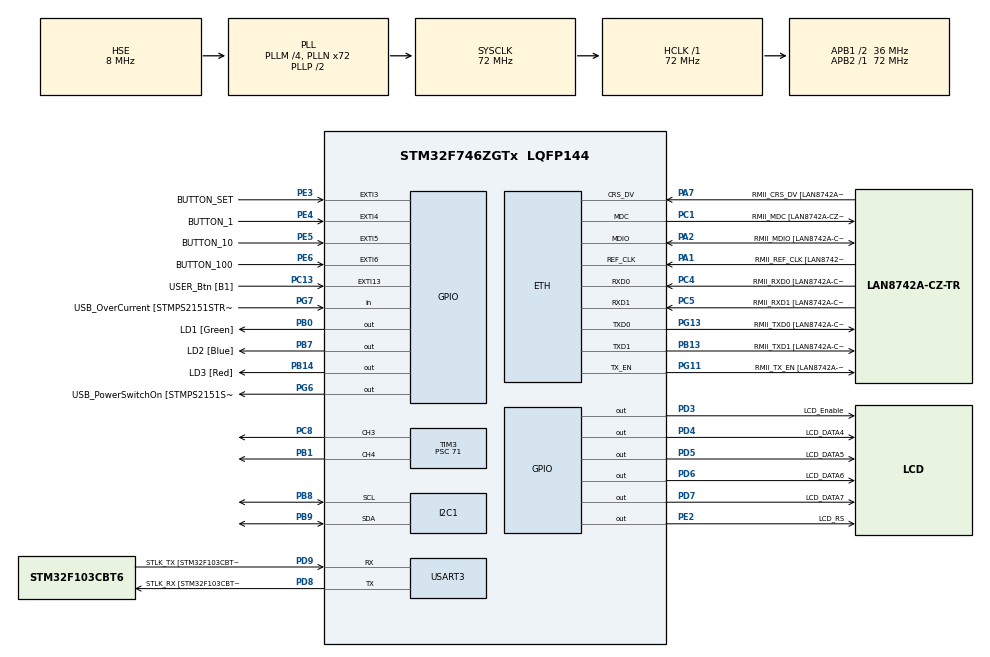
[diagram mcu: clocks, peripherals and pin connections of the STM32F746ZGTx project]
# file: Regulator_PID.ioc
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ARM.CMSIS.5.7.0.CMSISJjCORE=true
ARM.CMSIS.5.7.0.CMSISJjDSP=Library
CORTEX_M7.CPU_DCache=Enabled
CORTEX_M7.CPU_ICache=Enabled
ETH.MediaInterface=ETH_MEDIA_INTERFACE_RMII
ETH.PhyAddress=0
I2C1.Timing=0x00808CD2
LWIP.GATEWAY_ADDRESS=192.168.000.001
LWIP.IP_ADDRESS=192.168.000.123
LWIP.LWIP_DHCP=0
LWIP.LWIP_HTTPD=1
LWIP.LWIP_HTTPD_CGI=1
LWIP.LWIP_HTTPD_SSI=1
LWIP.MEM_SIZE=1024*10
LWIP.NETMASK_ADDRESS=255.255.255.000
LWIP.Version=v2.1.2_Cube
Mcu.Family=STM32F7
Mcu.Name=STM32F746ZGTx
Mcu.Package=LQFP144
NVIC.EXTI3_IRQn=true\:0\:0\:false\:false\:true\:true\:true
NVIC.EXTI4_IRQn=true\:0\:0\:false\:false\:true\:true\:true
NVIC.EXTI9_5_IRQn=true\:0\:0\:false\:false\:true\:true\:true
NVIC.PriorityGroup=NVIC_PRIORITYGROUP_4
NVIC.TIM2_IRQn=true\:0\:0\:false\:false\:true\:true\:true
NVIC.TIM3_IRQn=true\:0\:0\:false\:false\:true\:true\:true
NVIC.TIM4_IRQn=true\:0\:0\:false\:false\:true\:true\:true
NVIC.TIM6_DAC_IRQn=true\:0\:0\:false\:false\:true\:true\:true
NVIC.TIM7_IRQn=true\:0\:0\:false\:false\:true\:true\:true
NVIC.USART3_IRQn=true\:0\:0\:false\:false\:true\:true\:true
PA1.GPIO_Label=RMII_REF_CLK [LAN8742A-CZ-TR_REFCLK0]
PA1.Mode=RMII
PA1.Signal=ETH_REF_CLK
PA10.GPIO_Label=USB_ID
PA10.Signal=USB_OTG_FS_ID
PA11.GPIO_Label=USB_DM
PA11.Signal=USB_OTG_FS_DM
PA12.GPIO_Label=USB_DP
PA12.Signal=USB_OTG_FS_DP
PA13.GPIO_Label=TMS
PA13.Mode=Serial_Wire
PA13.Signal=SYS_JTMS-SWDIO
PA14.GPIO_Label=TCK
PA14.Mode=Serial_Wire
PA14.Signal=SYS_JTCK-SWCLK
PA2.GPIO_Label=RMII_MDIO [LAN8742A-CZ-TR_MDIO]
PA2.Mode=RMII
PA2.Signal=ETH_MDIO
PA7.GPIO_Label=RMII_CRS_DV [LAN8742A-CZ-TR_CRS_DV]
PA7.Mode=RMII
PA7.Signal=ETH_CRS_DV
PA8.GPIO_Label=USB_SOF [TP1]
PA8.Signal=USB_OTG_FS_SOF
PA9.GPIO_Label=USB_VBUS
PA9.Signal=USB_OTG_FS_VBUS
PB0.GPIO_Label=LD1 [Green]
PB0.Signal=GPIO_Output
PB1.Signal=S_TIM3_CH4
PB13.GPIO_Label=RMII_TXD1 [LAN8742A-CZ-TR_TXD1]
PB13.Mode=RMII
PB13.Signal=ETH_TXD1
PB14.GPIO_Label=LD3 [Red]
PB14.Signal=GPIO_Output
PB3.GPIO_Label=SW0
PB3.Signal=SYS_JTDO-SWO
PB7.GPIO_Label=LD2 [Blue]
PB7.Signal=GPIO_Output
PB8.Mode=I2C
PB8.Signal=I2C1_SCL
PB9.Mode=I2C
PB9.Signal=I2C1_SDA
PC1.GPIO_Label=RMII_MDC [LAN8742A-CZ-TR_MDC]
PC1.Mode=RMII
PC1.Signal=ETH_MDC
PC13.GPIO_Label=USER_Btn [B1]
PC13.Signal=GPXTI13
PC14/OSC32_IN.Mode=LSE-External-Oscillator
PC14/OSC32_IN.Signal=RCC_OSC32_IN
PC15/OSC32_OUT.Mode=LSE-External-Oscillator
PC15/OSC32_OUT.Signal=RCC_OSC32_OUT
PC4.GPIO_Label=RMII_RXD0 [LAN8742A-CZ-TR_RXD0]
PC4.Mode=RMII
PC4.Signal=ETH_RXD0
PC5.GPIO_Label=RMII_RXD1 [LAN8742A-CZ-TR_RXD1]
PC5.Mode=RMII
PC5.Signal=ETH_RXD1
PC8.Signal=S_TIM3_CH3
PD3.GPIO_Label=LCD_Enable
PD3.Signal=GPIO_Output
PD4.GPIO_Label=LCD_DATA4
PD4.Signal=GPIO_Output
PD5.GPIO_Label=LCD_DATA5
PD5.Signal=GPIO_Output
PD6.GPIO_Label=LCD_DATA6
PD6.Signal=GPIO_Output
PD7.GPIO_Label=LCD_DATA7
PD7.Signal=GPIO_Output
PD8.GPIO_Label=STLK_RX [STM32F103CBT6_PA3]
PD8.Mode=Asynchronous
PD8.Signal=USART3_TX
PD9.GPIO_Label=STLK_TX [STM32F103CBT6_PA2]
PD9.Mode=Asynchronous
PD9.Signal=USART3_RX
PE2.GPIO_Label=LCD_RS
PE2.Signal=GPIO_Output
PE3.GPIO_Label=BUTTON_SET
PE3.Signal=GPXTI3
PE4.GPIO_Label=BUTTON_1
PE4.Signal=GPXTI4
PE5.GPIO_Label=BUTTON_10
PE5.Signal=GPXTI5
PE6.GPIO_Label=BUTTON_100
PE6.Signal=GPXTI6
PG11.GPIO_Label=RMII_TX_EN [LAN8742A-CZ-TR_TXEN]
PG11.Mode=RMII
PG11.Signal=ETH_TX_EN
PG13.GPIO_Label=RMII_TXD0 [LAN8742A-CZ-TR_TXD0]
PG13.Mode=RMII
PG13.Signal=ETH_TXD0
PG6.GPIO_Label=USB_PowerSwitchOn [STMPS2151STR_EN]
PG6.Signal=GPIO_Output
PG7.GPIO_Label=USB_OverCurrent [STMPS2151STR_FAULT]
PG7.Signal=GPIO_Input
PH0/OSC_IN.GPIO_Label=MCO [STM32F103CBT6_PA8]
PH0/OSC_IN.Mode=HSE-External-Clock-Source
PH0/OSC_IN.Signal=RCC_OSC_IN
PH1/OSC_OUT.Mode=HSE-External-Clock-Source
PH1/OSC_OUT.Signal=RCC_OSC_OUT
ProjectManager.HeapSize=0x200
ProjectManager.StackSize=0x400
ProjectManager.TargetToolchain=STM32CubeIDE
RCC.48MHZClocksFreq_Value=24000000
RCC.AHBFreq_Value=72000000
RCC.APB1CLKDivider=RCC_HCLK_DIV2
RCC.APB1Freq_Value=36000000
RCC.APB1TimFreq_Value=72000000
RCC.APB2Freq_Value=72000000
RCC.APB2TimFreq_Value=72000000
RCC.CortexFreq_Value=72000000
RCC.HCLKFreq_Value=72000000
RCC.HSE_VALUE=8000000
RCC.HSI_VALUE=16000000
RCC.PLLM=4
RCC.PLLMUL=RCC_PLL_MUL9
RCC.PLLN=72
RCC.PLLQ=3
RCC.PLLSourceVirtual=RCC_PLLSOURCE_HSE
RCC.PRESCALERUSB=RCC_USBCLKSOURCE_PLL_DIV1_5
RCC.SYSCLKFreq_VALUE=72000000
RCC.SYSCLKSource=RCC_SYSCLKSOURCE_PLLCLK
RCC.SYSCLKSourceVirtual=RCC_SYSCLKSOURCE_PLLCLK
RCC.USBFreq_Value=48000000
RCC.VCOOutputFreq_Value=144000000
SH.S_TIM3_CH3.0=TIM3_CH3,PWM Generation3 CH3
SH.S_TIM3_CH4.0=TIM3_CH4,PWM Generation4 CH4
TIM2.AutoReloadPreload=TIM_AUTORELOAD_PRELOAD_ENABLE
TIM2.Period=4999
TIM2.Prescaler=71
TIM3.Channel-PWM\ Generation3\ CH3=TIM_CHANNEL_3
TIM3.Channel-PWM\ Generation4\ CH4=TIM_CHANNEL_4
TIM3.Period=999
TIM3.Prescaler=71
TIM3.Pulse-PWM\ Generation3\ CH3=0
TIM4.Period=9999
TIM4.Prescaler=7199
TIM6.Period=999
TIM6.Prescaler=7199
TIM7.AutoReloadPreload=TIM_AUTORELOAD_PRELOAD_ENABLE
TIM7.Period=4999
TIM7.Prescaler=71
USART3.VirtualMode-Asynchronous=VM_ASYNC
USART3.WordLength=WORDLENGTH_8B
VP_ARM.CMSIS_VS_CMSISJjCORE_5.4.0_5.7.0.Mode=CMSISJjCORE
VP_ARM.CMSIS_VS_CMSISJjDSP_1.8.0_5.7.0.Mode=CMSISJjDSP
VP_LWIP_VS_Enabled.Mode=Enabled
VP_TIM2_VS_ClockSourceINT.Mode=Internal
VP_TIM4_VS_ClockSourceINT.Mode=Internal
VP_TIM6_VS_ClockSourceINT.Mode=Enable_Timer
VP_TIM7_VS_ClockSourceINT.Mode=Enable_Timer
board=NUCLEO-F746ZG

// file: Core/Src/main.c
/* USER CODE BEGIN Header */
/**
 ******************************************************************************
 * @file           : main.c
 * @brief          : Main program body
 ******************************************************************************
 * @attention
 *
 * Copyright (c) 2022 STMicroelectronics.
 * All rights reserved.
 *
 * This software is licensed under terms that can be found in the LICENSE file
 * in the root directory of this software component.
 * If no LICENSE file comes with this software, it is provided AS-IS.
 *
 ******************************************************************************
 */
/* USER CODE END Header */
#include "main.h"
#include "i2c.h"
#include "lwip.h"
#include "tim.h"
#include "usart.h"
#include "gpio.h"

/* USER CODE BEGIN Includes */
#include "bh1750.h"
#include "lwip/apps/httpd.h"
#include "arm_math.h"
#include "LCD.h"
#include "http_ssi.h"

/* USER CODE END Includes */

/* USER CODE BEGIN PV */
//char text[]="000";
char kod[3];
int luxSetValue = 0;
float luxMeasuredValue = 0.0;
float light = 0;
char textBuffer[LCD_MAXIMUM_LINE_LENGTH];
char textBuffer2[LCD_MAXIMUM_LINE_LENGTH];
int startDisplay = 0;
int lcdTempValue = 0;
int lcd1 = 0;
int lcd10 = 0;
int lcd100 = 0;
int lcd1000 = 0;
int flag = 0;
//Zmienne do pythona i komunikacji poprzez UART
char inputCommand[20];
int startPrinting = 1;
int sendingFrequency = 1;
//HTTP
int indx = 0;
char const* TAGCHAR[]={"m", "s", "p"};
char const** TAGS=TAGCHAR;
char name[30];

//TESTY I POPRAWKI
int testowa=0;
/* USER CODE END PV */

void SystemClock_Config(void);

/* USER CODE BEGIN 0 */
typedef struct{
	float32_t Kp;
	float32_t Ki;
	float32_t Kd;
	float32_t dt;
}pid_parameters_t;

typedef struct{
	pid_parameters_t p;
	float32_t previous_error, previous_integral;
}pidT;

typedef float float32_t;
float32_t system_output = 0.0;

BH1750_HandleTypeDef hbh1750_1 = {
		.I2C = &hi2c1, .Address = BH1750_ADDRESS_L, .Timeout = 0xffff};

//Funkcja odpowiadajaca za kalkulacje PID
float32_t calculate_discrete_pid(pidT* pid, float32_t setpoint, float32_t measured){
	float32_t u=0, P, I, D, error, integral, derivative;
	error = setpoint-measured;

	P = pid->p.Kp * error;

	integral = pid->previous_integral + (error+pid->previous_error) ;
	pid->previous_integral = integral;
	I = pid->p.Ki*integral*(pid->p.dt/2.0);

	derivative = (error - pid->previous_error)/pid->p.dt;
	D = pid->p.Kd*derivative;

	pid->previous_error = error;
	u = P  + I + D;

	return u;
}
// Kp - zmniejsza uchyb, nieznacznie skraca czas regulacji, zwieksza przeregulowanie
// Ki - Sprowadza uchyb regulacji w stanie ustalonym do zera, wydluza czas regulacji, zwieksza przeregulowanie
// Kd - nie wpływa na uchyb, wpływa na skrócenie czasu regulacji i zmniejsza przeregulowanie.
float32_t pidOutput = 0.0;

//Dla zielonych diod
//pidT pid1 = { .p.Kp=1.2731, .p.Ki=1.2731/0.079535, .p.Kd=1.2731*0.019884, .p.dt=0.005, .previous_error=0, .previous_integral=0};

//Dla czerownych diod
pidT pid1 = { .p.Kp=0.1*1.2731, .p.Ki=0.5/0.079535, .p.Kd=0.7*0.019884, .p.dt=0.005, .previous_error=0, .previous_integral=0};

// Regulacja PID
void HAL_TIM_PeriodElapsedCallback(TIM_HandleTypeDef *htim)
{
	if(htim-> Instance == TIM7)
	{

	}
	if(htim-> Instance == TIM2)
	{
		luxMeasuredValue = BH1750_Read(&hbh1750_1);
		luxSetValue = luxSetValue>2400 ? 2400 : luxSetValue;
		luxSetValue = luxSetValue<0 ? 0 : luxSetValue;
		pidOutput = calculate_discrete_pid(&pid1, luxSetValue, luxMeasuredValue );
		TIM3->CCR3 = pidOutput;
		if(pidOutput > 1000){
			TIM3->CCR4 = pidOutput - 1000;}
		else{
			TIM3->CCR4 = 0;
		}
	}
	if(htim-> Instance == TIM6)
	{
		int var = luxMeasuredValue;
		sprintf(textBuffer, "S %d M %d   ", luxSetValue, var);
		LCD_goto_line(0);
		LCD_write_text(textBuffer);
	}
	if(htim-> Instance == TIM4)
	{
		if(startPrinting!=0)
		{
			//testowa++;
			char intensywnosc[100];
			//sprintf(intensywnosc,"{\"lux\":%0.2f}\r\n", luxMeasuredValue);
			sprintf(intensywnosc,"{\"lux\":%0.2f,\"set\":%d,\"pid\":%0.2f}\r\n", luxMeasuredValue, luxSetValue, pidOutput);
			HAL_UART_Transmit(&huart3, intensywnosc, strlen(intensywnosc), 1000);
		}
	}

}
void HAL_GPIO_EXTI_Callback(uint16_t GPIO_Pin)
{

	if(GPIO_Pin == GPIO_PIN_3)
	{

		luxSetValue = lcd1000*1000 + lcd100*100 + lcd10*10 + lcd1;
		flag = 1;
		lcd1 = 0;
		lcd10 = 0;
		lcd100 = 0;
		lcd1000 = 0;
		LCD_write_command(LCD_CLEAR_INSTRUCTION);

	}
	else if(GPIO_Pin == BUTTON_1_Pin)
	{
		lcd1 += 1;
		if(lcd1 > 9)
			lcd1 = 0;

	}
	else if(GPIO_Pin == BUTTON_10_Pin)
	{
		lcd10 += 1;
		if(lcd10 > 9)
			lcd10 = 0;
	}
	else if(GPIO_Pin == BUTTON_100_Pin)
	{
		lcd100 += 1;
		if(lcd100 > 9)
		{
			lcd100 = 0;
			lcd1000 += 1;
			if(lcd1000 > 9)
				lcd1000=0;
		}
	}
	lcdTempValue = lcd1000*1000 +lcd100*100 + lcd10*10 + lcd1;
	sprintf(textBuffer2, "WHAT TO SET %d", lcdTempValue);
	LCD_goto_line(1);
	LCD_write_text(textBuffer2);
}
// Odbior wiadomosci z terminala, ustawienie danej wartosci jasnosci
void HAL_UART_RxCpltCallback(UART_HandleTypeDef *huart)
{
	if(huart -> Instance == USART3)
	{
		HAL_UART_Receive_IT(&huart3, (uint8_t*)kod, 1);
		if(kod[0]!=';')
		{
			int len = strlen(inputCommand);
			inputCommand[len] = kod[0];
			inputCommand[len+1] = '\0';
		}
		else if(kod[0]==';') 											//Wykrywanie konca przesylu znakow
		{
			if((strncmp("printOn",inputCommand,7)==0))					//Porównanie 2 lancuchow znakow dana ich ilosc
			{
				startPrinting = 1;										//zaczecie transmisji przez UART pomiarow
			}else if((strncmp("printOff",inputCommand,8)==0))
			{
				startPrinting = 0;
			}else if((strncmp("setValue=",inputCommand,9)==0))			//Ustalenie wartosci swiatla
			{
				luxSetValue = readingString(9, 15, inputCommand);
			}else if((strncmp("freq=",inputCommand,5)==0))
			{
				sendingFrequency = readingString(5, 7, inputCommand);
				TIM4-> ARR = 4999/sendingFrequency;
			}
			memset(inputCommand, '\0', strlen(inputCommand)); 			//czyszczenie tablicy char
		}
	}
}

// HTPP WWW
extern struct netif gnetif;

uint16_t ssi_handler (int iIndex, char *pcInsert, int iInsertLen)
{
	int var = luxMeasuredValue;
	int var2 = pidOutput;
	switch (iIndex) {
	case 0:

		sprintf(pcInsert, "%d", var);
		return strlen(pcInsert);
		break;
	case 1:
		sprintf(pcInsert, "%d", luxSetValue);
		return strlen(pcInsert);
		break;
	case 2:
		sprintf(pcInsert, "%d", var2);
		return strlen(pcInsert);
		break;
	default :
		break;
	}

	return 0;
}

const char *CGIForm_Handler(int iIndex, int iNumParams, char *pcParam[], char *pcValue[]);

const tCGI FORM_CGI = {"/form.cgi", CGIForm_Handler};

const char *CGIForm_Handler(int iIndex, int iNumParams, char *pcParam[], char *pcValue[])
{
	if(iIndex == 0)
	{
		for (int i=0; i<iNumParams; i++)
		{
			if (strcmp(pcParam[i], "whatToSet") == 0)
			{
				strcpy(name, pcValue[i]);
				luxSetValue = atoi(name);
			}
		}
	}
	return "/ssipage.shtml";
}

void http_server_init (void)
{
	httpd_init();

	http_set_ssi_handler(ssi_handler, (char const**) TAGS, 3);
	http_set_cgi_handlers(&FORM_CGI, 1);
}
/* USER CODE END 0 */

int main(void)
{

  /* Enable I-Cache---------------------------------------------------------*/
  SCB_EnableICache();

  /* Enable D-Cache---------------------------------------------------------*/
  SCB_EnableDCache();

  /* MCU Configuration--------------------------------------------------------*/

  /* Reset of all peripherals, Initializes the Flash interface and the Systick. */
  HAL_Init();

  /* Configure the system clock */
  SystemClock_Config();

  /* Initialize all configured peripherals */
  MX_GPIO_Init();
  MX_USART3_UART_Init();
  MX_I2C1_Init();
  MX_TIM7_Init();
  MX_TIM3_Init();
  MX_TIM2_Init();
  MX_TIM6_Init();
  MX_TIM4_Init();
  MX_LWIP_Init();
  /* USER CODE BEGIN 2 */
	//Inicjalizacja czujnika z wybranym trybem pracy
	uint8_t TrybPracy = BH1750_CONTINOUS_H_RES_MODE;
	BH1750_Init(&hbh1750_1, TrybPracy);
	HAL_TIM_Base_Start_IT(&htim7);
	HAL_TIM_Base_Start_IT(&htim2);
	HAL_TIM_Base_Start_IT(&htim4);
	HAL_TIM_Base_Start_IT(&htim6);
	HAL_TIM_PWM_Start(&htim3, TIM_CHANNEL_3);
	HAL_TIM_PWM_Start(&htim3, TIM_CHANNEL_4);
	HAL_UART_Receive_IT(&huart3, (uint8_t*)kod, 1);
	HAL_TIM_Base_Start_IT(&htim6);
	HAL_TIM_PWM_Start(&htim3, TIM_CHANNEL_3);
	HAL_TIM_PWM_Start(&htim3, TIM_CHANNEL_4);
	LCD_init();
	LCD_write_command(LCD_CLEAR_INSTRUCTION);

	// inicialize httpd demand
	http_server_init();
  /* USER CODE END 2 */

  /* Infinite loop */
	while (1)
	{

    /* USER CODE BEGIN 3 */
		ethernetif_input(&gnetif);
		sys_check_timeouts();

	}
  /* USER CODE END 3 */
}

void SystemClock_Config(void)
{
  RCC_OscInitTypeDef RCC_OscInitStruct = {0};
  RCC_ClkInitTypeDef RCC_ClkInitStruct = {0};

  /** Configure LSE Drive Capability
  */
  HAL_PWR_EnableBkUpAccess();
  /** Configure the main internal regulator output voltage
  */
  __HAL_RCC_PWR_CLK_ENABLE();
  __HAL_PWR_VOLTAGESCALING_CONFIG(PWR_REGULATOR_VOLTAGE_SCALE3);
  /** Initializes the RCC Oscillators according to the specified parameters
  * in the RCC_OscInitTypeDef structure.
  */
  RCC_OscInitStruct.OscillatorType = RCC_OSCILLATORTYPE_HSE;
  RCC_OscInitStruct.HSEState = RCC_HSE_BYPASS;
  RCC_OscInitStruct.PLL.PLLState = RCC_PLL_ON;
  RCC_OscInitStruct.PLL.PLLSource = RCC_PLLSOURCE_HSE;
  RCC_OscInitStruct.PLL.PLLM = 4;
  RCC_OscInitStruct.PLL.PLLN = 72;
  RCC_OscInitStruct.PLL.PLLP = RCC_PLLP_DIV2;
  RCC_OscInitStruct.PLL.PLLQ = 3;
  if (HAL_RCC_OscConfig(&RCC_OscInitStruct) != HAL_OK)
  {
    Error_Handler();
  }
  /** Initializes the CPU, AHB and APB buses clocks
  */
  RCC_ClkInitStruct.ClockType = RCC_CLOCKTYPE_HCLK|RCC_CLOCKTYPE_SYSCLK
                              |RCC_CLOCKTYPE_PCLK1|RCC_CLOCKTYPE_PCLK2;
  RCC_ClkInitStruct.SYSCLKSource = RCC_SYSCLKSOURCE_PLLCLK;
  RCC_ClkInitStruct.AHBCLKDivider = RCC_SYSCLK_DIV1;
  RCC_ClkInitStruct.APB1CLKDivider = RCC_HCLK_DIV2;
  RCC_ClkInitStruct.APB2CLKDivider = RCC_HCLK_DIV1;

  if (HAL_RCC_ClockConfig(&RCC_ClkInitStruct, FLASH_LATENCY_2) != HAL_OK)
  {
    Error_Handler();
  }
}

void Error_Handler(void)
{
	__disable_irq();
	while (1)
	{
	}
}
